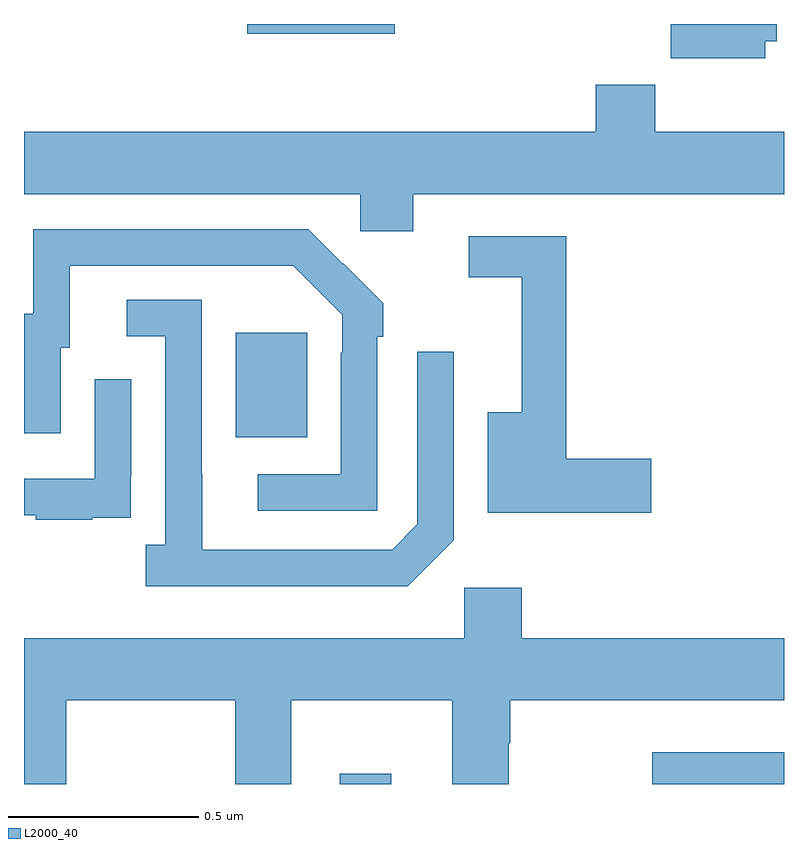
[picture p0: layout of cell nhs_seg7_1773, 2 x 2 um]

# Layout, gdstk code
import gdstk
lib = gdstk.Library(unit=1e-6, precision=1e-09)
def R(c, l, rs):  # rectangles x0, y0, x1, y1
    for r in rs: c.add(gdstk.rectangle(r[:2], r[2:], *l))
def P(c, l, *ps):  # polygons
    for p in ps: c.add(gdstk.Polygon(p, *l))
L2000_40 = (2000, 40)

nhs_seg7_1773 = lib.new_cell('nhs_seg7_1773')
R(nhs_seg7_1773, L2000_40, [(135.831,1063,135.967,1063.027), (136.653,1063,137,1063.084), (135.557,1063.913,135.745,1064.188), (135.588,1064.975,135.976,1065)])
P(nhs_seg7_1773, L2000_40, [(136.951,1064.954),(136.981,1064.954),(136.981,1065),(136.702,1065),(136.702,1064.91),(136.951,1064.91)],
  [(136.024,1064.552),(137,1064.552),(137,1064.716),(136.661,1064.716),(136.661,1064.84),(136.505,1064.84),(136.505,1064.716),(135,1064.716),(135,1064.552),(135.885,1064.552),(135.885,1064.454),(136.024,1064.454)],
  [(135.93,1064.177),(135.945,1064.177),(135.945,1064.265),(135.84,1064.37),(135.839,1064.369),(135.748,1064.46),(135.024,1064.46),(135.024,1064.238),(135,1064.238),(135,1063.923),(135.097,1063.923),(135.097,1064.148),(135.121,1064.148),(135.121,1064.364),(135.709,1064.364),(135.837,1064.235),(135.837,1064.135),(135.834,1064.135),(135.834,1063.815),(135.615,1063.815),(135.615,1063.719),(135.93,1063.719)],
  [(136.651,1063.856),(136.427,1063.856),(136.427,1064.442),(136.17,1064.442),(136.17,1064.334),(136.31,1064.334),(136.31,1063.978),(136.22,1063.978),(136.22,1063.714),(136.651,1063.714)],
  [(136.131,1063.641),(136.131,1064.137),(136.035,1064.137),(136.035,1063.683),(135.969,1063.617),(135.469,1063.617),(135.469,1063.817),(135.468,1063.817),(135.468,1064.274),(135.27,1064.274),(135.27,1064.178),(135.372,1064.178),(135.372,1063.63),(135.321,1063.63),(135.321,1063.52),(136.01,1063.52)],
  [(135.179,1063.701),(135.281,1063.701),(135.281,1063.81),(135.282,1063.81),(135.282,1064.065),(135.186,1064.065),(135.186,1063.803),(135,1063.803),(135,1063.707),(135.031,1063.707),(135.031,1063.695),(135.179,1063.695)],
  [(135,1063),(135.111,1063),(135.111,1063.22),(135.556,1063.22),(135.556,1063),(135.703,1063),(135.703,1063.22),(136.127,1063.22),(136.127,1063),(136.275,1063),(136.275,1063.107),(136.28,1063.107),(136.28,1063.22),(137,1063.22),(137,1063.384),(136.31,1063.384),(136.31,1063.516),(136.158,1063.516),(136.158,1063.384),(135,1063.384)])

lib.write_gds('nhs_seg7_1773.gds')
